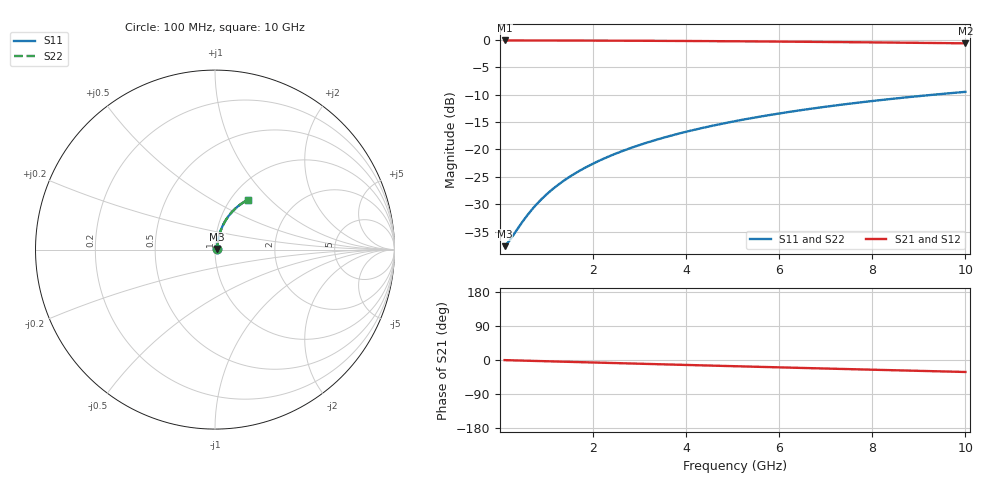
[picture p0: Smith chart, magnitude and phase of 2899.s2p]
# Hz S RI R 50.00
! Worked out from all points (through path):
!   100 points, 100 MHz to 10 GHz, reference 50 ohm
!   highest |S21| = -0.11 dB at 100 MHz (marker M1); lowest = -0.6 dB at 10 GHz (marker M2)
!   group delay of S21, straight-line fit = 8.8 ps
!   lowest |S11| = -37.7 dB at 100 MHz (marker M3), VSWR 1.03, Z = 51.3 + j0.368 ohm
!   |S11| at or under -10 dB: start of sweep to 9.337 GHz
!   |S22| runs from -37.7 to -9.5 dB; largest |S21 - S12| = 0
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1e8  0.0126 0.00359  0.9874 -0.00566  0.9874 -0.00566  0.0126 0.00359
2e8  0.0127 0.00718  0.9873 -0.0113  0.9873 -0.0113  0.0127 0.00718
5e8  0.0133 0.0179  0.9866 -0.0283  0.9866 -0.0283  0.0133 0.0179
6e8  0.0136 0.0215  0.9864 -0.0339  0.9864 -0.0339  0.0136 0.0215
7e8  0.0139 0.0251  0.986 -0.0395  0.986 -0.0395  0.0139 0.0251
9e8  0.0146 0.0322  0.9852 -0.0508  0.9852 -0.0508  0.0146 0.0322
1.1e9  0.0154 0.0393  0.9843 -0.0621  0.9843 -0.0621  0.0154 0.0393
1.3e9  0.0165 0.0464  0.9831 -0.0733  0.9831 -0.0733  0.0165 0.0464
1.5e9  0.0177 0.0535  0.9818 -0.0845  0.9818 -0.0845  0.0177 0.0535
1.8e9  0.0197 0.064  0.9795 -0.1012  0.9795 -0.1012  0.0197 0.064
2.1e9  0.0221 0.0745  0.9769 -0.1178  0.9769 -0.1178  0.0221 0.0745
2.5e9  0.0259 0.0882  0.9727 -0.1398  0.9727 -0.1398  0.0259 0.0882
2.9e9  0.0303 0.1017  0.9678 -0.1616  0.9678 -0.1616  0.0303 0.1017
3.4e9  0.0366 0.1183  0.9609 -0.1886  0.9609 -0.1886  0.0366 0.1183
3.8e9  0.0423 0.1312  0.9545 -0.2098  0.9545 -0.2098  0.0423 0.1312
4.2e9  0.0485 0.1438  0.9476 -0.2307  0.9476 -0.2307  0.0485 0.1438
5.1e9  0.0645 0.1709  0.9298 -0.2765  0.9298 -0.2765  0.0645 0.1709
5.9e9  0.0807 0.1933  0.9117 -0.3155  0.9117 -0.3155  0.0807 0.1933
6.7e9  0.0986 0.2139  0.8915 -0.3529  0.8915 -0.3529  0.0986 0.2139
7.5e9  0.1181 0.2328  0.8695 -0.3885  0.8695 -0.3885  0.1181 0.2328
8.4e9  0.1414 0.2516  0.843 -0.4262  0.843 -0.4262  0.1414 0.2516
1e10  0.186 0.2787  0.7917 -0.487  0.7917 -0.487  0.186 0.2787
